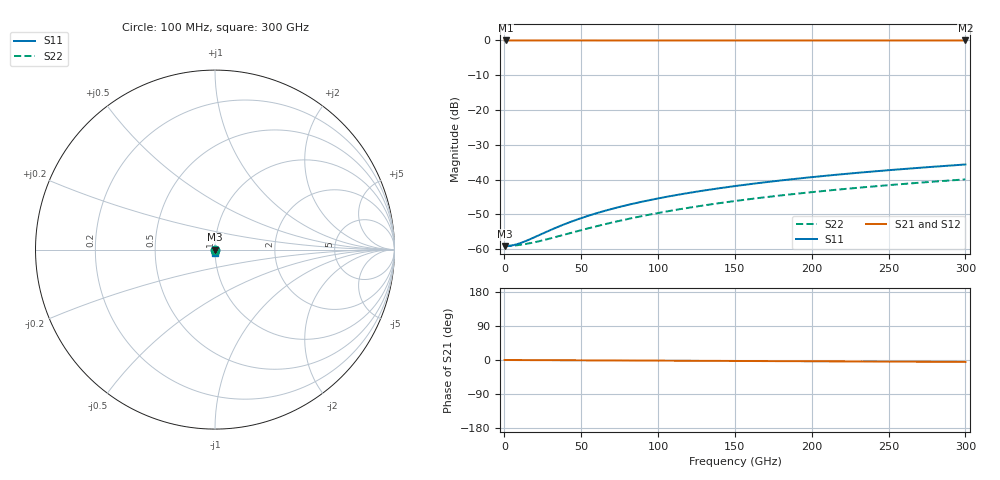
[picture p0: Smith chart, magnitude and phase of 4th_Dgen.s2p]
#  Hz  S  RI  R  50
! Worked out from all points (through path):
!   3000 points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, 100 MHz to 300 GHz, reference 50 ohm
!   highest |S21| = -0.01 dB at 800 MHz (marker M1); lowest = 0.0 dB at 300 GHz (marker M2)
!   lowest |S11| = -59.1 dB at 100 MHz (marker M3), VSWR 1.00, Z = 50.1 - j0.000497 ohm
!   |S11| at or under -10 dB: start of sweep to end of sweep
!   |S22| runs from -59.1 to -39.9 dB; largest |S21 - S12| = 4.3e-05
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1e8  0.0011 -4.96e-06  0.9989 -2.99e-05  0.9988 -2.97e-05  0.00111 -2.71e-06
8e8  0.0011 -3.96e-05  0.9989 -0.000239  0.9988 -0.000238  0.00111 -2.17e-05
3.3e9  0.0011 -0.000164  0.9989 -0.000987  0.9988 -0.000981  0.00111 -8.94e-05
5.8e9  0.00111 -0.000288  0.9989 -0.00174  0.9988 -0.00172  0.00111 -0.000157
8.5e9  0.00111 -0.000422  0.9989 -0.00254  0.9988 -0.00253  0.00112 -0.000231
1.15e10  0.00111 -0.000572  0.9989 -0.00344  0.9988 -0.00342  0.00112 -0.000312
1.56e10  0.00111 -0.000777  0.9989 -0.00466  0.9988 -0.00464  0.00113 -0.000425
2.14e10  0.00112 -0.00107  0.9988 -0.00639  0.9988 -0.00636  0.00114 -0.000586
3.53e10  0.00113 -0.00179  0.9988 -0.0105  0.9988 -0.0105  0.00118 -0.000981
4.26e10  0.00113 -0.00217  0.9987 -0.0127  0.9987 -0.0126  0.00121 -0.00119
5.01e10  0.00113 -0.00257  0.9987 -0.0149  0.9987 -0.0149  0.00124 -0.00142
6.12e10  0.00111 -0.00316  0.9986 -0.0181  0.9986 -0.0181  0.00128 -0.00175
7.31e10  0.00108 -0.0038  0.9985 -0.0216  0.9985 -0.0216  0.00133 -0.00212
8.6e10  0.00104 -0.00451  0.9983 -0.0254  0.9983 -0.0254  0.00139 -0.00253
1.001e11  0.00097 -0.00528  0.9982 -0.0296  0.9982 -0.0296  0.00145 -0.00298
1.236e11  0.000814 -0.00658  0.9979 -0.0364  0.9979 -0.0364  0.00154 -0.00375
1.501e11  0.000573 -0.00806  0.9975 -0.0442  0.9975 -0.0442  0.00164 -0.00464
1.74e11  0.000295 -0.00939  0.9971 -0.0511  0.9971 -0.0511  0.00173 -0.00545
2.001e11  -7.6e-05 -0.0108  0.9966 -0.0587  0.9966 -0.0588  0.00183 -0.00635
2.242e11  -0.000479 -0.0122  0.9962 -0.0658  0.9961 -0.0658  0.00192 -0.00718
2.501e11  -0.000968 -0.0136  0.9956 -0.0733  0.9956 -0.0733  0.00201 -0.00808
3e11  -0.00206 -0.0164  0.9943 -0.0879  0.9944 -0.0879  0.00219 -0.00983
